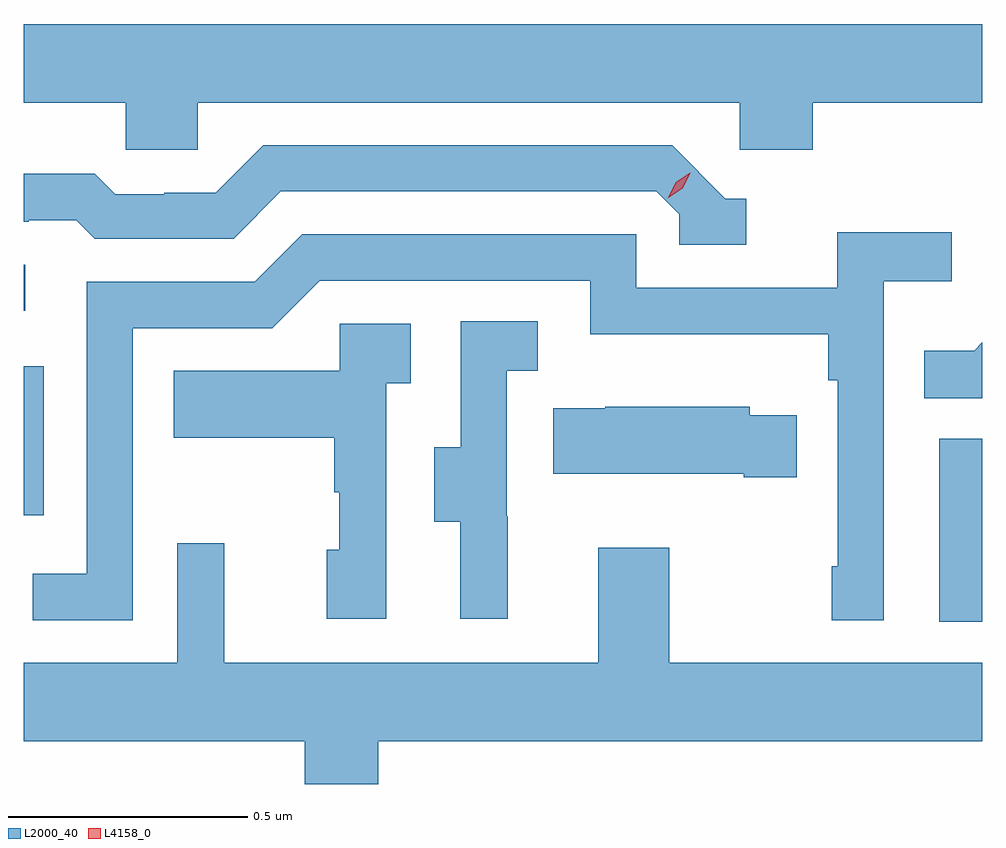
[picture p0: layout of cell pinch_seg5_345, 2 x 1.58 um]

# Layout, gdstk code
import gdstk
lib = gdstk.Library(unit=1e-6, precision=1e-09)
def R(c, l, rs):  # rectangles x0, y0, x1, y1
    for r in rs: c.add(gdstk.rectangle(r[:2], r[2:], *l))
def P(c, l, *ps):  # polygons
    for p in ps: c.add(gdstk.Polygon(p, *l))
L2000_40 = (2000, 40)
L4158_0 = (4158, 0)

pinch_seg5_345 = lib.new_cell('pinch_seg5_345')
R(pinch_seg5_345, L2000_40, [(887.084,886.313,887.174,886.695), (885.174,886.536,885.216,886.846), (885.174,886.962,885.178,887.058)])
P(pinch_seg5_345, L2000_40, [(885.537,887.396),(886.668,887.396),(886.668,887.298),(886.82,887.298),(886.82,887.396),(887.174,887.396),(887.174,887.56),(885.174,887.56),(885.174,887.396),(885.387,887.396),(885.387,887.298),(885.537,887.298)],
  [(886.681,887.196),(886.638,887.196),(886.527,887.307),(885.674,887.307),(885.575,887.208),(885.468,887.208),(885.468,887.205),(885.365,887.205),(885.323,887.248),(885.174,887.248),(885.174,887.148),(885.185,887.148),(885.185,887.151),(885.284,887.151),(885.323,887.112),(885.612,887.112),(885.711,887.211),(886.494,887.211),(886.542,887.163),(886.542,887.1),(886.681,887.1)],
  [(885.402,886.926),(885.693,886.926),(885.792,887.025),(886.356,887.025),(886.356,886.913),(886.852,886.913),(886.852,886.817),(886.872,886.817),(886.872,886.429),(886.86,886.429),(886.86,886.317),(886.968,886.317),(886.968,887.024),(887.11,887.024),(887.11,887.126),(886.871,887.126),(886.871,887.01),(886.452,887.01),(886.452,887.121),(885.755,887.121),(885.656,887.022),(885.306,887.022),(885.306,886.413),(885.193,886.413),(885.193,886.317),(885.402,886.317)],
  [(886.184,886.533),(886.182,886.533),(886.182,886.837),(886.246,886.837),(886.246,886.94),(886.086,886.94),(886.086,886.677),(886.031,886.677),(886.031,886.522),(886.085,886.522),(886.085,886.32),(886.184,886.32)],
  [(885.93,886.811),(885.982,886.811),(885.982,886.935),(885.834,886.935),(885.834,886.837),(885.487,886.837),(885.487,886.697),(885.822,886.697),(885.822,886.583),(885.832,886.583),(885.832,886.464),(885.806,886.464),(885.806,886.32),(885.93,886.32)],
  [(887.174,886.896),(887.157,886.879),(887.053,886.879),(887.053,886.78),(887.174,886.78)],
  [(886.787,886.744),(886.689,886.744),(886.689,886.762),(886.387,886.762),(886.387,886.759),(886.279,886.759),(886.279,886.622),(886.676,886.622),(886.676,886.615),(886.787,886.615)],
  [(885.914,886.064),(887.174,886.064),(887.174,886.228),(886.521,886.228),(886.521,886.468),(886.373,886.468),(886.373,886.228),(885.593,886.228),(885.593,886.477),(885.495,886.477),(885.495,886.228),(885.174,886.228),(885.174,886.064),(885.761,886.064),(885.761,885.975),(885.914,885.975)])
P(pinch_seg5_345, L4158_0, [(886.518,887.197),(886.518,887.197),(886.534,887.23),(886.564,887.25),(886.564,887.25),(886.564,887.249),(886.549,887.217),(886.518,887.197)])

lib.write_gds('pinch_seg5_345.gds')
